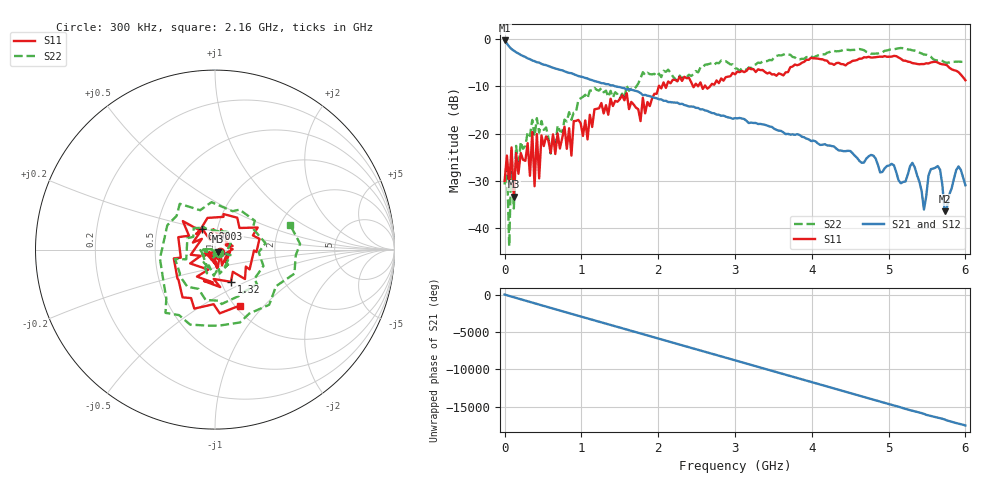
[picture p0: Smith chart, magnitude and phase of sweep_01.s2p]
! 2-port S-parameters written by miniscope-char acquisition
! instrument: Pico Technology Ltd,PicoVNA-106,10080,5.3.4
! transport: scpi
! endpoint: 127.0.0.1:5025
! demo: false
! calibration: software
# HZ S RI R 50
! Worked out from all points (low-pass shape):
!   201 points, 300 kHz to 6 GHz, reference 50 ohm
!   highest |S21| = -0.29 dB at 300 kHz (marker M1); lowest = -36.4 dB at 5.73 GHz (marker M2)
!   |S21| within 3 dB of the highest: start of sweep to 204.5 MHz
!   lowest |S11| = -33.3 dB at 120.3 MHz (marker M3), VSWR 1.04, Z = 51.9 - j1.12 ohm
!   |S11| at or under -10 dB: start of sweep to 2.008 GHz; 2.018 GHz to 2.05 GHz (31.98 MHz wide, 1.57 % of centre); 2.618 GHz to 2.675 GHz (56.88 MHz wide, 2.15 % of centre)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
!   |S22| runs from -43.8 to -1.9 dB; largest |S21 - S12| = 0.046
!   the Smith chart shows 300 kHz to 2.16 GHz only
!   S11 on the Smith chart (normalised r, x): 300 kHz: 1.06, -0.02; 900.3 MHz: 0.85, +0.20; 1.32 GHz: 1.11, -0.42; 2.16 GHz: 1.05, -0.74
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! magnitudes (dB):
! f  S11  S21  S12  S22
! 300 kHz  -30.0  -0.3  0.0  -30.8
! 30.3 MHz  -24.6  -0.9  -1.1  -25.7
! 60.3 MHz  -30.7  -1.6  -1.8  -43.8
! 90.3 MHz  -22.9  -2.1  -2.3  -23.5
! 120.3 MHz  -33.3  -2.4  -2.6  -35.8
! 150.3 MHz  -24.1  -2.8  -3.0  -22.6
! 330.3 MHz  -28.9  -4.3  -4.4  -20.5
! 360.3 MHz  -19.6  -4.5  -4.7  -17.1
! 390.3 MHz  -31.1  -4.7  -4.8  -20.6
! 420.3 MHz  -20.1  -4.9  -5.1  -16.7
! 450.3 MHz  -29.5  -5.0  -5.1  -19.8
! 900.3 MHz  -17.3  -7.4  -7.6  -15.6
! 1.02 GHz  -20.5  -8.0  -8.2  -12.2
! 1.32 GHz  -14.0  -9.5  -9.7  -10.9
! 2.01 GHz  -9.8  -12.7  -12.9  -7.3
! 2.16 GHz  -9.3  -13.3  -13.5  -7.1
! 3 GHz  -7.5  -16.7  -16.9  -6.1
! 4.02 GHz  -4.1  -21.5  -21.6  -3.9
! 5.01 GHz  -3.7  -26.7  -26.8  -2.3
! 5.64 GHz  -5.0  -26.8  -27.0  -4.5
! 5.73 GHz  -5.4  -36.4  -36.6  -4.9
! 6 GHz  -8.7  -30.9  -31.1  -4.8
